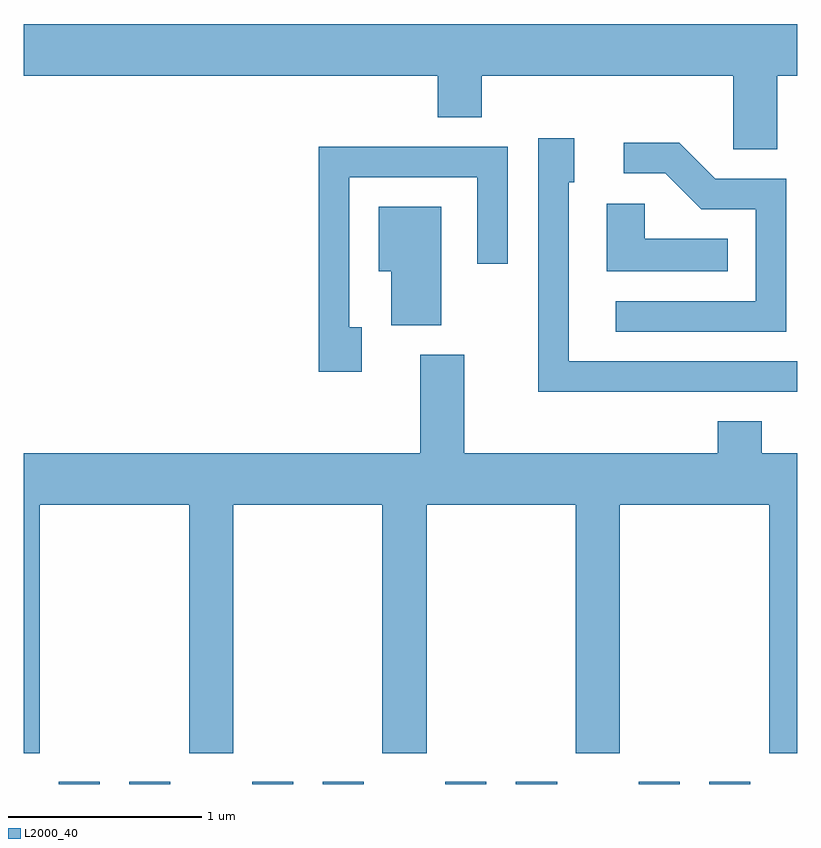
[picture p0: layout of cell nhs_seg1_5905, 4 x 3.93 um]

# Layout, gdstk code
import gdstk
lib = gdstk.Library(unit=1e-6, precision=1e-09)
def R(c, l, rs):  # rectangles x0, y0, x1, y1
    for r in rs: c.add(gdstk.rectangle(r[:2], r[2:], *l))
def P(c, l, *ps):  # polygons
    for p in ps: c.add(gdstk.Polygon(p, *l))
L2000_40 = (2000, 40)

nhs_seg1_5905 = lib.new_cell('nhs_seg1_5905')
R(nhs_seg1_5905, L2000_40, [(363.791,873.712,364.004,873.724), (364.156,873.712,364.369,873.724), (364.791,873.712,365.004,873.724), (365.156,873.712,365.369,873.724), (365.791,873.712,366.004,873.724), (366.156,873.712,366.369,873.724), (366.791,873.712,367.004,873.724), (367.156,873.712,367.369,873.724)])
P(nhs_seg1_5905, L2000_40, [(367.509,877.376),(367.611,877.376),(367.611,877.644),(363.611,877.644),(363.611,877.376),(365.751,877.376),(365.751,877.161),(365.979,877.161),(365.979,877.376),(367.281,877.376),(367.281,876.996),(367.509,876.996)],
  [(367.611,875.899),(366.429,875.899),(366.429,876.826),(366.459,876.826),(366.459,877.054),(366.271,877.054),(366.271,875.741),(367.611,875.741)],
  [(367.554,876.844),(367.187,876.844),(367.002,877.029),(366.713,877.029),(366.713,876.871),(366.929,876.871),(367.114,876.686),(367.396,876.686),(367.396,876.209),(366.673,876.209),(366.673,876.051),(367.554,876.051)],
  [(365.359,876.074),(365.294,876.074),(365.294,876.851),(365.956,876.851),(365.956,876.403),(366.114,876.403),(366.114,877.009),(365.136,877.009),(365.136,875.846),(365.359,875.846)],
  [(367.253,876.534),(366.824,876.534),(366.824,876.714),(366.626,876.714),(366.626,876.366),(367.253,876.366)],
  [(365.769,876.699),(365.446,876.699),(365.446,876.366),(365.511,876.366),(365.511,876.086),(365.769,876.086)],
  [(363.694,875.156),(364.466,875.156),(364.466,873.871),(364.694,873.871),(364.694,875.156),(365.466,875.156),(365.466,873.871),(365.694,873.871),(365.694,875.156),(366.466,875.156),(366.466,873.871),(366.694,873.871),(366.694,875.156),(367.466,875.156),(367.466,873.871),(367.611,873.871),(367.611,875.424),(367.429,875.424),(367.429,875.589),(367.201,875.589),(367.201,875.424),(365.889,875.424),(365.889,875.934),(365.661,875.934),(365.661,875.424),(363.611,875.424),(363.611,873.871),(363.694,873.871)])

lib.write_gds('nhs_seg1_5905.gds')
